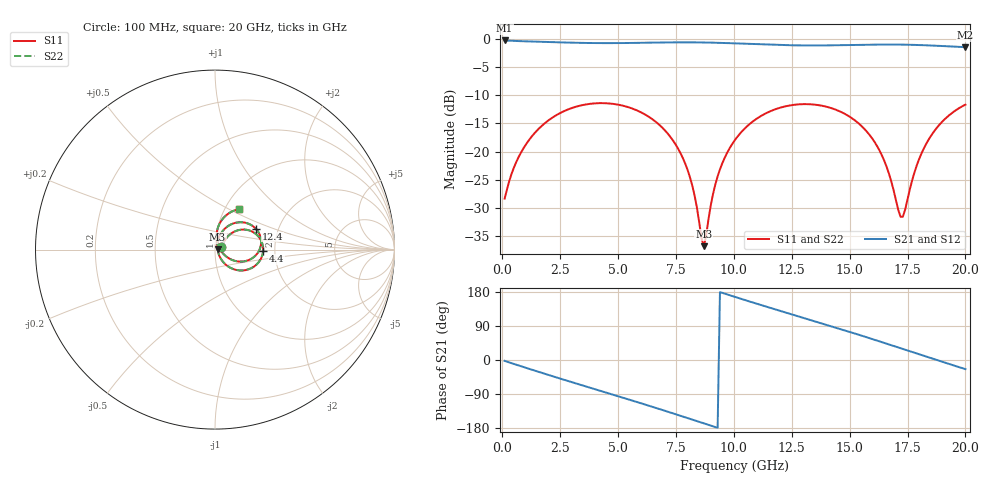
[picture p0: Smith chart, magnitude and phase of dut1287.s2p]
! Touchstone file exported from HFSS 2026.1.0
!  File:  C:/ffzhzh/LocalFiles/Ansys_Project_Files/temp_train_TSV_RDL_1287_1783331243_39728.aedt
!  Generated:  06:07:49 PM Jul  6, 2026
!  Design:  TSV_RDL
!  Project:  temp_train_TSV_RDL_1287_1783331243_39728
! Variables:
!  h_bsmrdl = 3.83um
!  h_ox = 20um
!  h_rdl = 5um
!  h_sub = 85.75um
!  h_tmrdl = 2.72um
!  h_tsv = 85.75um
!  h_via = 3um
!  l_bsmrdl = 598.42um
!  l_sub = 6335.14um
!  l_tmrdl = 998.58um
!  m_sub = 200um
!  pitch = 32.23um
!  r_tsv = 3.65um
!  s_tmrdl = 10um
!  w_bsmrdl = 27.39um
!  w_sub = 500um
!  w_tmrdl = 21.13um
!  x_tsv_center1 = 1009.145um
!  x_tsv_center2 = 1634.955um
!  x_tsv_center3 = 2654.665um
!  x_tsv_center4 = 3280.475um
!  x_tsv_center5 = 4300.185um
!  x_tsv_center6 = 4925.995um
# GHz S MA R 50.000000
! Terminal data exported
! Port[1] = TM_RDL1_1_T1
! Port[2] = TM_RDL5_1_T1
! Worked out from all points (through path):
!   200 points, 100 MHz to 20 GHz, reference 50 ohm
!   highest |S21| = -0.32 dB at 100 MHz (marker M1); lowest = -1.5 dB at 20 GHz (marker M2)
!   group delay of S21, straight-line fit = 53.1 ps
!   lowest |S11| = -36.8 dB at 8.7 GHz (marker M3), VSWR 1.03, Z = 51.5 + j0.236 ohm
!   |S11| at or under -10 dB: start of sweep to end of sweep
!   |S22| runs from -36.6 to -11.4 dB; largest |S21 - S12| = 1.6e-14
!   S11 on the Smith chart (normalised r, x): 100 MHz: 1.07, +0.03; 4.4 GHz: 1.73, -0.03; 12.4 GHz: 1.53, +0.38; 20 GHz: 1.16, +0.56
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0.1  0.03824 18.9  0.9642 -2.2  0.9642 -2.2  0.03824 18.9
! Gamma 0 0 0 0
! Port Impedance 50 0 50 0
0.6  0.08048 44.3  0.9534 -12.4  0.9534 -12.4  0.08048 44.3
1.3  0.1381 43.9  0.9433 -26.1  0.9433 -26.1  0.1381 43.9
3.5  0.2589 13.3  0.9168 -67.8  0.9168 -67.8  0.2588 13.3
4.4  0.2682 -1.6  0.913 -84.4  0.913 -84.4  0.2682 -1.6
5.6  0.241 -21.9  0.9165 -106.8  0.9165 -106.8  0.241 -21.9
6.8  0.1711 -42.2  0.9246 -129.7  0.9246 -129.7  0.171 -42.2
8  0.06888 -57.4  0.9283 -153.2  0.9283 -153.2  0.06884 -57.2
8.3  0.04118 -54.6  0.9275 -159.2  0.9275 -159.2  0.04118 -54.3
8.7  0.01451 9.1  0.9253 -167.1  0.9253 -167.1  0.01475 9.4
9.3  0.06025 71.9  0.9193 -178.9  0.9193 -178.9  0.06041 71.7
10.1  0.1308 64.6  0.9078 165.5  0.9078 165.5  0.131 64.5
12.4  0.2557 27.1  0.8747 122.4  0.8747 122.4  0.2558 27.1
13.4  0.2614 10.5  0.8705 104.1  0.8705 104.1  0.2615 10.5
15.4  0.1767 -21.6  0.8814 66.6  0.8814 66.6  0.1768 -21.7
16.1  0.1195 -30.3  0.8859 52.9  0.8859 52.9  0.1196 -30.5
16.7  0.06356 -30.0  0.8874 41.0  0.8874 41.0  0.06358 -30.3
17.1  0.03041 -3.3  0.8865 33.0  0.8865 33.0  0.03023 -3.8
17.3  0.02648 36.9  0.8854 29.0  0.8854 29.0  0.02615 36.7
17.8  0.06537 81.9  0.8808 18.9  0.8808 18.9  0.06511 82.1
18.3  0.1163 82.9  0.8738 8.9  0.8738 8.9  0.1161 83.1
20  0.2603 59.4  0.8409 -24.0  0.8409 -24.0  0.2601 59.5
